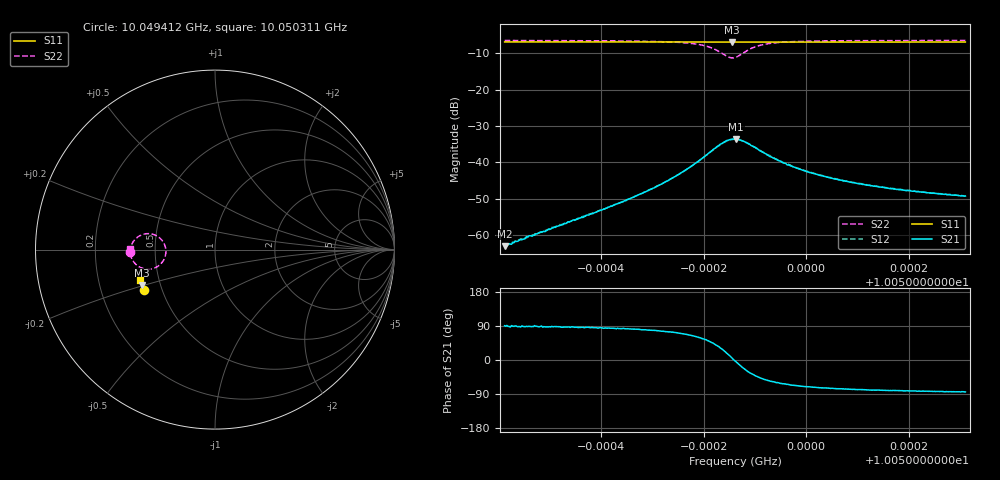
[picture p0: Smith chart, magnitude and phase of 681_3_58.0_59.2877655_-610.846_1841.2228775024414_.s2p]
#  HZ  S  RI  R  50.00
! Rohde & Schwarz Vector Network Analyzer
! Rohde-Schwarz,ZNB20-2Port,1311601062101988,3.16
! Created: UTC 3/21/2024, 1:20:52 AM
! freq[Hz]  re:S11  im:S11  re:S21  im:S21  re:S12  im:S12  re:S22  im:S22
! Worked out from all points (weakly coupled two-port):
!   401 points, 10.049412 GHz to 10.050311 GHz, reference 50 ohm
!   highest |S21| = -33.57 dB at 10.049864 GHz (marker M1); lowest = -63.0 dB at 10.049412 GHz (marker M2)
!   lowest |S11| = -6.9 dB at 10.049855 GHz (marker M3), VSWR 2.64, Z = 19.8 - j9.75 ohm
!   |S11| at or under -10 dB: nowhere
!   |S22| runs from -11.3 to -6.5 dB; largest |S21 - S12| = 0.0018
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1.0049412e10  -0.3954 -0.2236  -3.98e-06 0.000712  -4.37e-05 0.000705  -0.4741 -0.0156
1.00494479e10  -0.3965 -0.2214  2.43e-05 0.00088  -3.08e-05 0.0009  -0.4737 -0.0114
1.00494592e10  -0.3967 -0.2206  2.17e-05 0.000977  -4.97e-05 0.000963  -0.4735 -0.0101
1.00495625e10  -0.3999 -0.2146  0.00011 0.00176  1.7e-06 0.00179  -0.4715 0.00423
1.00496569e10  -0.4027 -0.2088  0.000452 0.00316  0.000257 0.00319  -0.4662 0.0233
1.0049713e10  -0.4042 -0.2052  0.0011 0.00473  0.000821 0.00479  -0.4576 0.0412
1.00497602e10  -0.4053 -0.2023  0.00268 0.00699  0.00225 0.00712  -0.4389 0.0636
1.00497984e10  -0.4061 -0.1996  0.00647 0.00959  0.00583 0.0099  -0.3993 0.0852
1.00498142e10  -0.4062 -0.1985  0.00955 0.0104  0.00884 0.0109  -0.3686 0.0888
1.00498299e10  -0.4062 -0.1975  0.014 0.00989  0.0133 0.0105  -0.3266 0.0777
1.00498411e10  -0.406 -0.1969  0.0177 0.00756  0.017 0.00861  -0.2959 0.0525
1.00498546e10  -0.406 -0.1966  0.0207 0.00228  0.0203 0.00387  -0.2741 0.000794
1.00498613e10  -0.4061 -0.1966  0.021 -0.000816  0.0209 0.000817  -0.2755 -0.029
1.00498636e10  -0.4061 -0.1965  0.0209 -0.00186  0.0208 -0.000247  -0.2776 -0.0384
1.00498861e10  -0.4071 -0.1961  0.0158 -0.00919  0.0166 -0.00785  -0.3336 -0.1012
1.00499018e10  -0.4078 -0.1953  0.0117 -0.0106  0.0126 -0.00972  -0.3756 -0.1093
1.00499175e10  -0.4086 -0.1945  0.00859 -0.0105  0.00939 -0.00999  -0.4059 -0.1036
1.00499602e10  -0.4104 -0.1918  0.00436 -0.00868  0.00475 -0.00836  -0.4464 -0.0768
1.00500119e10  -0.4118 -0.1889  0.00227 -0.00677  0.00269 -0.00667  -0.463 -0.0526
1.0050086e10  -0.4138 -0.184  0.00116 -0.00525  0.00153 -0.00519  -0.4708 -0.0313
1.00501624e10  -0.4158 -0.1793  0.000708 -0.00433  0.001 -0.00435  -0.4737 -0.017
1.00503107e10  -0.4194 -0.1702  0.000348 -0.00343  0.000552 -0.00342  -0.4754 0.00225
